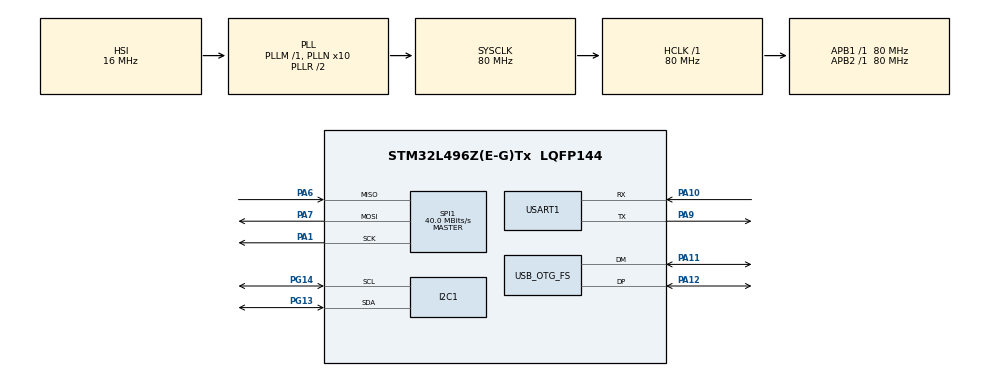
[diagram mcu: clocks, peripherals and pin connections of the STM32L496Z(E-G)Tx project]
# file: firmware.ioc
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I2C1.Timing=0x10D19CE4
Mcu.Family=STM32L4
Mcu.Name=STM32L496Z(E-G)Tx
Mcu.Package=LQFP144
NVIC.PriorityGroup=NVIC_PRIORITYGROUP_4
PA1.Mode=Full_Duplex_Master
PA1.Signal=SPI1_SCK
PA10.Mode=Asynchronous
PA10.Signal=USART1_RX
PA11.Mode=Device_Only
PA11.Signal=USB_OTG_FS_DM
PA12.Mode=Device_Only
PA12.Signal=USB_OTG_FS_DP
PA6.Mode=Full_Duplex_Master
PA6.Signal=SPI1_MISO
PA7.Mode=Full_Duplex_Master
PA7.Signal=SPI1_MOSI
PA9.Mode=Asynchronous
PA9.Signal=USART1_TX
PG13.Mode=I2C
PG13.Signal=I2C1_SDA
PG14.Mode=I2C
PG14.Signal=I2C1_SCL
ProjectManager.HeapSize=0x800
ProjectManager.StackSize=0x800
ProjectManager.TargetToolchain=STM32CubeIDE
RCC.ADCFreq_Value=64000000
RCC.AHBFreq_Value=80000000
RCC.APB1Freq_Value=80000000
RCC.APB1TimFreq_Value=80000000
RCC.APB2Freq_Value=80000000
RCC.APB2TimFreq_Value=80000000
RCC.CK48CLockSelection=RCC_USBCLKSOURCE_HSI48
RCC.CortexFreq_Value=80000000
RCC.HCLKFreq_Value=80000000
RCC.HSE_VALUE=8000000
RCC.HSI48_VALUE=48000000
RCC.HSI_VALUE=16000000
RCC.LSE_VALUE=32768
RCC.MSICalibrationValue=0
RCC.MSI_VALUE=4000000
RCC.PLLN=10
RCC.PLLR=2
RCC.PLLSourceVirtual=RCC_PLLSOURCE_HSI
RCC.PREFETCH_ENABLE=1
RCC.SYSCLKFreq_VALUE=80000000
RCC.SYSCLKSource=RCC_SYSCLKSOURCE_PLLCLK
RCC.USBFreq_Value=48000000
RCC.VCOOutputFreq_Value=160000000
SPI1.CalculateBaudRate=40.0 MBits/s
SPI1.Direction=SPI_DIRECTION_2LINES
SPI1.Mode=SPI_MODE_MASTER
SPI1.VirtualType=VM_MASTER
STMicroelectronics.X-CUBE-AI.10.0.0.ActivationBufferSizeList=2948
STMicroelectronics.X-CUBE-AI.10.0.0.ActivationBuffers=pool0
STMicroelectronics.X-CUBE-AI.10.0.0.ActivationNames=pool0
STMicroelectronics.X-CUBE-AI.10.0.0.ActivationSizes=AI_EMGCLASSIFIER_DATA_ACTIVATION_1_SIZE
STMicroelectronics.X-CUBE-AI.10.0.0.ApplicationCcDeviceJjApplication=ApplicationTemplate
STMicroelectronics.X-CUBE-AI.10.0.0.HeapSize=0x800
STMicroelectronics.X-CUBE-AI.10.0.0.InternalRamActivationBufferMaxSize=AI_EMGCLASSIFIER_DATA_ACTIVATIONS_SIZE
STMicroelectronics.X-CUBE-AI.10.0.0.LatestDirectoryUsed-93b30e3e424701023d5bccedcd7e470877aee30fc592cb022264f6d5304797e3=C\:\\Users\\lilmo\\OneDrive\\Desktop\\SDSU\\SDSU_2024-25\\Senior Design\\Senior-Design-Team-9\\software\\machine_learning
STMicroelectronics.X-CUBE-AI.10.0.0.MaximumNumberOfInputLayer=1
STMicroelectronics.X-CUBE-AI.10.0.0.MaximumNumberOfOutputLayer=1
STMicroelectronics.X-CUBE-AI.10.0.0.MaximumSizeOfInputLayer=1
STMicroelectronics.X-CUBE-AI.10.0.0.MaximumSizeOfOutputLayer=1
STMicroelectronics.X-CUBE-AI.10.0.0.ModelActualCompression-93b30e3e424701023d5bccedcd7e470877aee30fc592cb022264f6d5304797e3=0.0
STMicroelectronics.X-CUBE-AI.10.0.0.ModelCompression-93b30e3e424701023d5bccedcd7e470877aee30fc592cb022264f6d5304797e3=None
STMicroelectronics.X-CUBE-AI.10.0.0.ModelFlashOccupation-93b30e3e424701023d5bccedcd7e470877aee30fc592cb022264f6d5304797e3=38120
STMicroelectronics.X-CUBE-AI.10.0.0.ModelHashList=93b30e3e424701023d5bccedcd7e470877aee30fc592cb022264f6d5304797e3
STMicroelectronics.X-CUBE-AI.10.0.0.ModelKind-93b30e3e424701023d5bccedcd7e470877aee30fc592cb022264f6d5304797e3=TFLITE
STMicroelectronics.X-CUBE-AI.10.0.0.ModelMacc-93b30e3e424701023d5bccedcd7e470877aee30fc592cb022264f6d5304797e3=6896
STMicroelectronics.X-CUBE-AI.10.0.0.ModelName-93b30e3e424701023d5bccedcd7e470877aee30fc592cb022264f6d5304797e3=emgclassifier
STMicroelectronics.X-CUBE-AI.10.0.0.ModelNameList=emgclassifier
STMicroelectronics.X-CUBE-AI.10.0.0.ModelRamOccupation-93b30e3e424701023d5bccedcd7e470877aee30fc592cb022264f6d5304797e3=2948
STMicroelectronics.X-CUBE-AI.10.0.0.ModelStructureFile-93b30e3e424701023d5bccedcd7e470877aee30fc592cb022264f6d5304797e3=C\:\\Users\\lilmo\\OneDrive\\Desktop\\SDSU\\SDSU_2024-25\\Senior Design\\Senior-Design-Team-9\\software\\machine_learning\\model_batch_size_256.tflite
STMicroelectronics.X-CUBE-AI.10.0.0.ModelType-93b30e3e424701023d5bccedcd7e470877aee30fc592cb022264f6d5304797e3=STM32Cube.AI MCU runtime
STMicroelectronics.X-CUBE-AI.10.0.0.ReadyForCodeGeneration=true
STMicroelectronics.X-CUBE-AI.10.0.0.StackSize=0x800
STMicroelectronics.X-CUBE-AI.10.0.0.WorkingBufferStartAddrList=0xFFFFFFFF
STMicroelectronics.X-CUBE-AI.10.0.0.XAaCUBEAaAICcArtificialOoIntelligenceJjCore=true
STMicroelectronics.X-CUBE-AI.10.0.0.copyWeightToRam-93b30e3e424701023d5bccedcd7e470877aee30fc592cb022264f6d5304797e3=false
STMicroelectronics.X-CUBE-AI.10.0.0.customLayerConfigEnabled-93b30e3e424701023d5bccedcd7e470877aee30fc592cb022264f6d5304797e3=false
STMicroelectronics.X-CUBE-AI.10.0.0.noOnnxIoTranspose-93b30e3e424701023d5bccedcd7e470877aee30fc592cb022264f6d5304797e3=false
STMicroelectronics.X-CUBE-AI.10.0.0.useInputAllocation-93b30e3e424701023d5bccedcd7e470877aee30fc592cb022264f6d5304797e3=true
STMicroelectronics.X-CUBE-AI.10.0.0.useOutputAllocation-93b30e3e424701023d5bccedcd7e470877aee30fc592cb022264f6d5304797e3=true
USART1.VirtualMode-Asynchronous=VM_ASYNC
USB_OTG_FS.VirtualMode=Device_Only
VP_STMicroelectronics.X-CUBE-AI_VS_ArtificialOoIntelligenceJjXAaCUBEAaAI_10.0.0.Mode=ArtificialOoIntelligenceJjXAaCUBEAaAI
VP_STMicroelectronics.X-CUBE-AI_VS_DeviceJjApplication_10.0.0.Mode=DeviceJjApplication
board=custom

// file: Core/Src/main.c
/* USER CODE BEGIN Header */
/**
  ******************************************************************************
  * @file           : main.c
  * @brief          : Main program body
  ******************************************************************************
  * @attention
  *
  * Copyright (c) 2025 STMicroelectronics.
  * All rights reserved.
  *
  * This software is licensed under terms that can be found in the LICENSE file
  * in the root directory of this software component.
  * If no LICENSE file comes with this software, it is provided AS-IS.
  *
  ******************************************************************************
  */
/* USER CODE END Header */
#include "main.h"
#include "i2c.h"
#include "spi.h"
#include "usart.h"
#include "usb_otg.h"
#include "gpio.h"
#include "app_x-cube-ai.h"

#include "feature_extraction.h"

void SystemClock_Config(void);

int main(void)
{

  /* USER CODE BEGIN 1 */
	int16_t adc_processed[400];
	    int16_t features[12];

	    const int32_t adc_raw[400] = {0x23A966, 0x23A966, 0x23A966, 0x23A965, 0x23A964,
	    		0x23A964, 0x23A965, 0x23A964, 0x23A964, 0x23A964, 0x23A964, 0x23A964, 0x23A965,
				0x23A963, 0x23A961, 0x23A962, 0x23A963, 0x23A965, 0x23A966, 0x23A967, 0x23A968,
				0x23A967, 0x23A966, 0x23A966, 0x23A967, 0x23A966, 0x23A963, 0x23A962, 0x23A963,
				0x23A963, 0x23A963, 0x23A963, 0x23A961, 0x23A961, 0x23A962, 0x23A962, 0x23A960,
				0x23A95F, 0x23A960, 0x23A95E, 0x23A95C, 0x23A95E, 0x23A964, 0x23A967, 0x23A966,
				0x23A963, 0x23A961, 0x23A963, 0x23A964, 0x23A963, 0x23A962, 0x23A963, 0x23A964,
				0x23A964, 0x23A964, 0x23A964, 0x23A965, 0x23A965, 0x23A963, 0x23A962, 0x23A963,
				0x23A963, 0x23A964, 0x23A965, 0x23A964, 0x23A963, 0x23A963, 0x23A965, 0x23A967,
				0x23A966, 0x23A964, 0x23A962, 0x23A962, 0x23A963, 0x23A964, 0x23A963, 0x23A964,
				0x23A964, 0x23A962, 0x23A962, 0x23A962, 0x23A961, 0x23A960, 0x23A961, 0x23A961,
				0x23A963, 0x23A963, 0x23A962, 0x23A960, 0x23A95F, 0x23A95F, 0x23A95E, 0x23A961,
				0x23A964, 0x23A963, 0x23A962, 0x23A962, 0x23A963, 0x23A964, 0x23A964, 0x23A964,
				0x23A964, 0x23A964, 0x23A965, 0x23A964, 0x23A964, 0x23A964, 0x23A965, 0x23A968,
				0x23A969, 0x23A969, 0x23A967, 0x23A966, 0x23A967, 0x23A967, 0x23A963, 0x23A95E,
				0x23A95C, 0x23A95B, 0x23A95C, 0x23A95F, 0x23A961, 0x23A962, 0x23A962, 0x23A961,
				0x23A960, 0x23A95F, 0x23A960, 0x23A961, 0x23A962, 0x23A962, 0x23A963, 0x23A966,
				0x23A965, 0x23A963, 0x23A963, 0x23A963, 0x23A963, 0x23A962, 0x23A961, 0x23A962,
				0x23A963, 0x23A964, 0x23A964, 0x23A963, 0x23A964, 0x23A967, 0x23A96B, 0x23A96C,
				0x23A969, 0x23A967, 0x23A963, 0x23A95E, 0x23A95C, 0x23A95D, 0x23A95F, 0x23A960,
				0x23A960, 0x23A962, 0x23A964, 0x23A966, 0x23A966, 0x23A965, 0x23A964, 0x23A963,
				0x23A964, 0x23A964, 0x23A963, 0x23A962, 0x23A962, 0x23A963, 0x23A963, 0x23A963,
				0x23A962, 0x23A963, 0x23A964, 0x23A962, 0x23A95F, 0x23A95F, 0x23A962, 0x23A965,
				0x23A964, 0x23A964, 0x23A964, 0x23A965, 0x23A966, 0x23A965, 0x23A963, 0x23A963,
				0x23A965, 0x23A965, 0x23A963, 0x23A962, 0x23A962, 0x23A963, 0x23A963, 0x23A962,
				0x23A962, 0x23A963, 0x23A965, 0x23A967, 0x23A967, 0x23A966, 0x23A964, 0x23A964,
				0x23A965, 0x23A965, 0x23A964, 0x23A965, 0x23A965, 0x23A964, 0x23A965, 0x23A966,
				0x23A966, 0x23A964, 0x23A962, 0x23A960, 0x23A95E, 0x23A962, 0x23A964, 0x23A964,
				0x23A962, 0x23A960, 0x23A961, 0x23A962, 0x23A962, 0x23A962, 0x23A962, 0x23A963,
				0x23A964, 0x23A963, 0x23A95E, 0x23A95C, 0x23A95E, 0x23A960, 0x23A95E, 0x23A95E,
				0x23A964, 0x23A968, 0x23A967, 0x23A962, 0x23A961, 0x23A963, 0x23A964, 0x23A963,
				0x23A963, 0x23A965, 0x23A965, 0x23A964, 0x23A964, 0x23A963, 0x23A964, 0x23A965,
				0x23A965, 0x23A963, 0x23A962, 0x23A963, 0x23A962, 0x23A961, 0x23A961, 0x23A962,
				0x23A963, 0x23A964, 0x23A965, 0x23A967, 0x23A967, 0x23A966, 0x23A965, 0x23A964,
				0x23A961, 0x23A95E, 0x23A960, 0x23A962, 0x23A961, 0x23A95F, 0x23A95D, 0x23A960,
				0x23A964, 0x23A963, 0x23A962, 0x23A963, 0x23A965, 0x23A964, 0x23A963, 0x23A962,
				0x23A963, 0x23A966, 0x23A968, 0x23A968, 0x23A969, 0x23A96C, 0x23A96C, 0x23A968,
				0x23A961, 0x23A95B, 0x23A959, 0x23A95A, 0x23A95A, 0x23A95E, 0x23A966, 0x23A96E,
				0x23A970, 0x23A96C, 0x23A964, 0x23A961, 0x23A962, 0x23A962, 0x23A962, 0x23A962,
				0x23A966, 0x23A968, 0x23A967, 0x23A965, 0x23A962, 0x23A960, 0x23A961, 0x23A962,
				0x23A963, 0x23A962, 0x23A960, 0x23A95F, 0x23A960, 0x23A962, 0x23A964, 0x23A965,
				0x23A963, 0x23A962, 0x23A962, 0x23A961, 0x23A95E, 0x23A95E, 0x23A961, 0x23A964,
				0x23A964, 0x23A963, 0x23A962, 0x23A962, 0x23A963, 0x23A964, 0x23A963, 0x23A964,
				0x23A965, 0x23A966, 0x23A967, 0x23A967, 0x23A966, 0x23A967, 0x23A967, 0x23A966,
				0x23A964, 0x23A964, 0x23A964, 0x23A963, 0x23A962, 0x23A962, 0x23A961, 0x23A962,
				0x23A964, 0x23A965, 0x23A964, 0x23A963, 0x23A962, 0x23A962, 0x23A962, 0x23A964,
				0x23A963, 0x23A960, 0x23A95D, 0x23A95D, 0x23A960, 0x23A963, 0x23A963, 0x23A961,
				0x23A961, 0x23A961, 0x23A962, 0x23A962, 0x23A963, 0x23A963, 0x23A965, 0x23A966,
				0x23A964, 0x23A962, 0x23A962, 0x23A963, 0x23A964, 0x23A965, 0x23A966, 0x23A963,
				0x23A95F, 0x23A95E, 0x23A95E, 0x23A95E, 0x23A95E, 0x23A95E, 0x23A960, 0x23A962,
				0x23A964, 0x23A965, 0x23A966};

	    convert_adc_data(adc_raw, adc_processed);

	    calculate_features(adc_processed, features);

	    /*printf("Computed Features:\n");
	    for (int i = 0; i < 12; i++) {
	        printf("Feature %d: %d\n", i, features[i]);
	    }*/
  /* USER CODE END 1 */

  /* MCU Configuration--------------------------------------------------------*/

  /* Reset of all peripherals, Initializes the Flash interface and the Systick. */
  HAL_Init();

  /* Configure the system clock */
  SystemClock_Config();

  /* Initialize all configured peripherals */
  MX_GPIO_Init();
  MX_I2C1_Init();
  MX_SPI1_Init();
  MX_USART1_UART_Init();
  MX_USB_OTG_FS_PCD_Init();
  MX_X_CUBE_AI_Init();

  /* Infinite loop */
  while (1)
  {

  MX_X_CUBE_AI_Process();
  }
}

void SystemClock_Config(void)
{
  RCC_OscInitTypeDef RCC_OscInitStruct = {0};
  RCC_ClkInitTypeDef RCC_ClkInitStruct = {0};

  /** Configure the main internal regulator output voltage
  */
  if (HAL_PWREx_ControlVoltageScaling(PWR_REGULATOR_VOLTAGE_SCALE1) != HAL_OK)
  {
    Error_Handler();
  }

  /** Initializes the RCC Oscillators according to the specified parameters
  * in the RCC_OscInitTypeDef structure.
  */
  RCC_OscInitStruct.OscillatorType = RCC_OSCILLATORTYPE_HSI48|RCC_OSCILLATORTYPE_HSI;
  RCC_OscInitStruct.HSIState = RCC_HSI_ON;
  RCC_OscInitStruct.HSI48State = RCC_HSI48_ON;
  RCC_OscInitStruct.HSICalibrationValue = RCC_HSICALIBRATION_DEFAULT;
  RCC_OscInitStruct.PLL.PLLState = RCC_PLL_ON;
  RCC_OscInitStruct.PLL.PLLSource = RCC_PLLSOURCE_HSI;
  RCC_OscInitStruct.PLL.PLLM = 1;
  RCC_OscInitStruct.PLL.PLLN = 10;
  RCC_OscInitStruct.PLL.PLLP = RCC_PLLP_DIV2;
  RCC_OscInitStruct.PLL.PLLQ = RCC_PLLQ_DIV2;
  RCC_OscInitStruct.PLL.PLLR = 2;
  if (HAL_RCC_OscConfig(&RCC_OscInitStruct) != HAL_OK)
  {
    Error_Handler();
  }

  /** Initializes the CPU, AHB and APB buses clocks
  */
  RCC_ClkInitStruct.ClockType = RCC_CLOCKTYPE_HCLK|RCC_CLOCKTYPE_SYSCLK
                              |RCC_CLOCKTYPE_PCLK1|RCC_CLOCKTYPE_PCLK2;
  RCC_ClkInitStruct.SYSCLKSource = RCC_SYSCLKSOURCE_PLLCLK;
  RCC_ClkInitStruct.AHBCLKDivider = RCC_SYSCLK_DIV1;
  RCC_ClkInitStruct.APB1CLKDivider = RCC_HCLK_DIV1;
  RCC_ClkInitStruct.APB2CLKDivider = RCC_HCLK_DIV1;

  if (HAL_RCC_ClockConfig(&RCC_ClkInitStruct, FLASH_LATENCY_4) != HAL_OK)
  {
    Error_Handler();
  }
}

void Error_Handler(void)
{
  __disable_irq();
  while (1)
  {
  }
}
